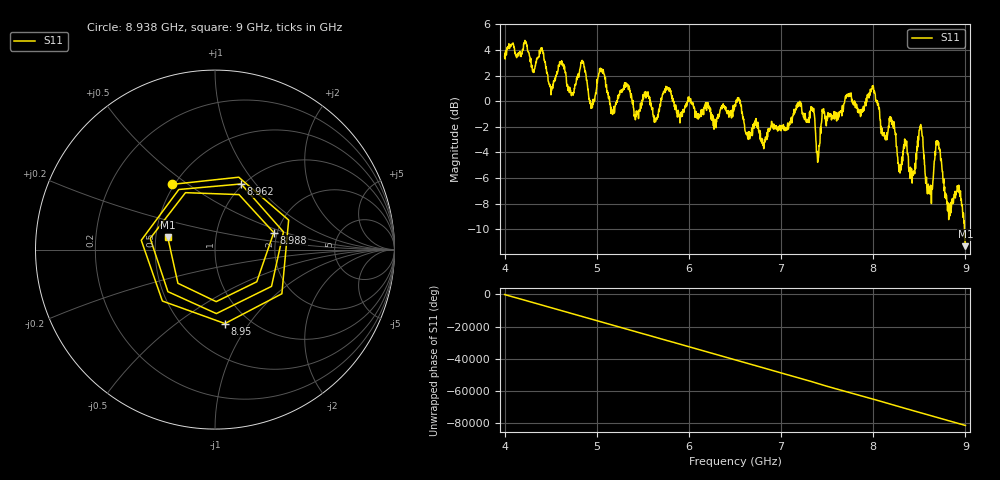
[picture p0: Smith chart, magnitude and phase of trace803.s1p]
! Created with skrf 1.8.0 (http://scikit-rf.org).
# Hz S RI R 50.0
!freq ReS11 ImS11
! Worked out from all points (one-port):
!   1601 points, 4 GHz to 9 GHz, reference 50 ohm
!   lowest |S11| = -11.3 dB at 9 GHz (marker M1), VSWR 1.75, Z = 29 + j4.22 ohm
!   |S11| at or under -10 dB: 8.989514 GHz to end of sweep
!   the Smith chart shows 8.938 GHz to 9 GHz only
!   S11 on the Smith chart (normalised r, x): 8.938 GHz: 0.48, +0.43; 8.95 GHz: 0.78, -0.78; 8.962 GHz: 0.98, +0.85; 8.988 GHz: 1.92, +0.41; 9 GHz: 0.58, +0.08
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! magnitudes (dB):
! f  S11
! 4 GHz  3.5
! 4.625 GHz  3.0
! 4.728 GHz  0.6
! 4.853 GHz  3.1
! 4.941 GHz  -0.3
! 5.047 GHz  2.5
! 5.169 GHz  -1.0
! 5.25 GHz  0.7
! 5.875 GHz  -1.2
! 6.5 GHz  -0.3
! 6.803 GHz  -3.5
! 7.125 GHz  -1.2
! 7.341 GHz  -0.8
! 7.4 GHz  -4.6
! 7.459 GHz  -0.6
! 7.75 GHz  0.4
! 7.997 GHz  1.1
! 8.375 GHz  -4.1
! 8.438 GHz  -5.6
! 8.512 GHz  -1.9
! 8.606 GHz  -6.9
! 8.703 GHz  -3.1
! 8.816 GHz  -7.9
! 8.938 GHz  -7.2
! 8.95 GHz  -7.6
! 8.962 GHz  -8.1
! 8.988 GHz  -9.3
! 9 GHz  -11.3
